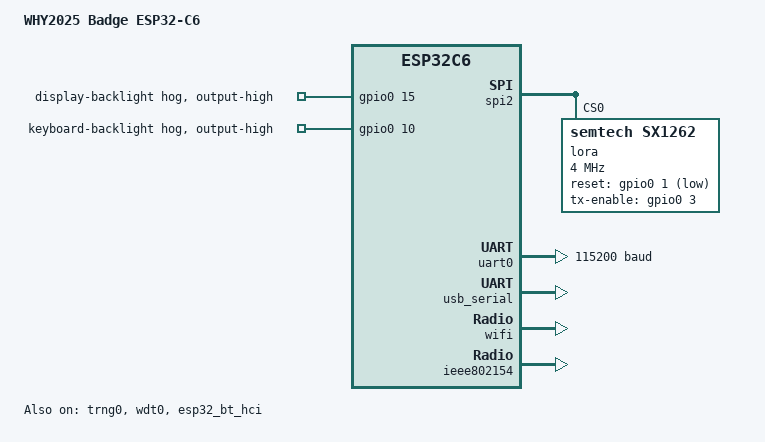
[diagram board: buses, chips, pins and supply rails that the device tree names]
/*
 * SPDX-FileCopyrightText: Copyright The Zephyr Project Contributors
 * SPDX-License-Identifier: Apache-2.0
 */

/dts-v1/;

#include <espressif/esp32c6/esp32c6.dtsi>
#include "why2025_badge_esp32c6_hpcore-pinctrl.dtsi"
#include <espressif/partitions_0x0_default_8M.dtsi>

/*
 * ESP32-C6-WROOM-1-N8 on the carrier board. Its USB-Serial-JTAG reaches
 * USB-C port J8 only while the ESP32-P4 drives GPIO2 high
 * (CONFIG_WHY2025_BADGE_USB_TO_C6), and its enable line is ESP32-P4 GPIO12.
 */
/ {
	model = "WHY2025 Badge ESP32-C6";
	compatible = "espressif,esp32c6";

	chosen {
		zephyr,sram = &sramhp;
		zephyr,console = &usb_serial;
		zephyr,shell-uart = &usb_serial;
		zephyr,flash = &flash0;
		zephyr,code-partition = &slot0_partition;
		zephyr,ieee802154 = &ieee802154;
		zephyr,bt-hci = &esp32_bt_hci;
	};

	aliases {
		lora0 = &lora;
		watchdog0 = &wdt0;
	};
};

&flash0 {
	reg = <0x0 DT_SIZE_M(8)>;
	ranges = <0x0 0x0 DT_SIZE_M(8)>;
};

&gpio0 {
	status = "okay";

	/*
	 * Control inputs of the two AP3032 backlight boost converters; high is
	 * full brightness. The pins can be handed to ledc0 for dimming.
	 */
	display_backlight {
		gpio-hog;
		gpios = <15 GPIO_ACTIVE_HIGH>;
		output-high;
		line-name = "display-backlight";
	};

	keyboard_backlight {
		gpio-hog;
		gpios = <10 GPIO_ACTIVE_HIGH>;
		output-high;
		line-name = "keyboard-backlight";
	};
};

/*
 * The schematic names an Ai-Thinker Ra-01H (SX1276); badges carry the Ra-01SH (SX1262) on the
 * same footprint. Its BUSY, DIO1 and RXEN pads (Ra-01H DIO4, DIO1, DIO5) are not connected:
 * the driver waits out BUSY and polls the IRQ status. Pad 5 (Ra-01H DIO0) is TXEN. The SMA
 * connector J5 is not fitted.
 */
&spi2 {
	#address-cells = <1>;
	#size-cells = <0>;
	status = "okay";
	pinctrl-0 = <&spim2_default>;
	pinctrl-names = "default";

	lora: lora@0 {
		compatible = "semtech,sx1262";
		reg = <0>;
		spi-max-frequency = <DT_FREQ_M(4)>;
		reset-gpios = <&gpio0 1 GPIO_ACTIVE_LOW>;
		tx-enable-gpios = <&gpio0 3 GPIO_ACTIVE_HIGH>;
	};
};

/* UART1 of the ESP32-P4 */
&uart0 {
	status = "okay";
	current-speed = <115200>;
	pinctrl-0 = <&uart0_default>;
	pinctrl-names = "default";
};

&usb_serial {
	status = "okay";
};

&trng0 {
	status = "okay";
};

&wdt0 {
	status = "okay";
};

&wifi {
	status = "okay";
};

&ieee802154 {
	status = "okay";
};

&esp32_bt_hci {
	status = "okay";
};
